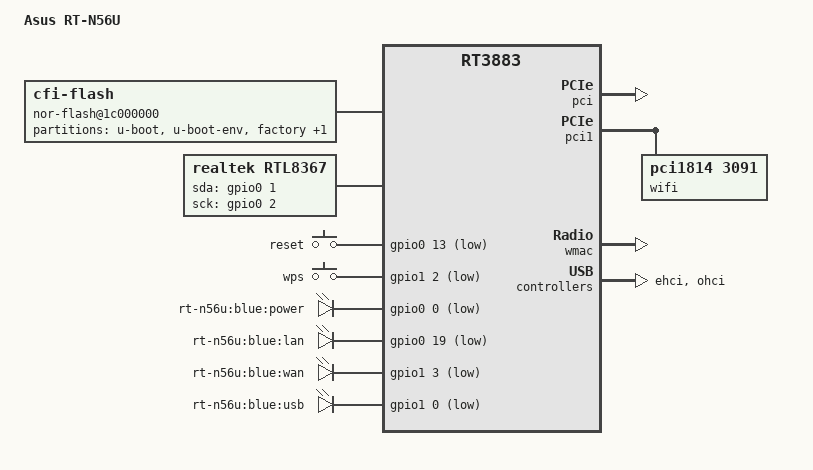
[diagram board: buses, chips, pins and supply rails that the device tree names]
/dts-v1/;

#include "rt3883.dtsi"

#include <dt-bindings/gpio/gpio.h>
#include <dt-bindings/input/input.h>

/ {
	compatible = "asus,rt-n56u", "ralink,rt3883-soc";
	model = "Asus RT-N56U";

	aliases {
		led-boot = &led_power;
		led-failsafe = &led_power;
		led-running = &led_power;
		led-upgrade = &led_power;
	};

	nor-flash@1c000000 {
		compatible = "cfi-flash";
		reg = <0x1c000000 0x800000>;
		bank-width = <2>;

		partitions {
			compatible = "fixed-partitions";
			#address-cells = <1>;
			#size-cells = <1>;

			partition@0 {
				reg = <0x0 0x0030000>;
				label = "u-boot";
				read-only;
			};

			partition@30000 {
				reg = <0x00030000 0x00010000>;
				label = "u-boot-env";
				read-only;
			};

			factory: partition@40000 {
				reg = <0x00040000 0x00010000>;
				label = "factory";
				read-only;
			};

			partition@50000 {
				reg = <0x00050000 0x007b0000>;
				label = "firmware";
			};
		};
	};

	rtl8367 {
		compatible = "realtek,rtl8367";
		gpio-sda = <&gpio0 1 GPIO_ACTIVE_HIGH>;
		gpio-sck = <&gpio0 2 GPIO_ACTIVE_HIGH>;
		realtek,extif1 = <1 0 1 1 1 1 1 1 2>;
	};

	gpio-keys-polled {
		compatible = "gpio-keys-polled";
		poll-interval = <100>;

		reset {
			label = "reset";
			gpios = <&gpio0 13 GPIO_ACTIVE_LOW>;
			linux,code = <KEY_RESTART>;
		};

		wps {
			label = "wps";
			gpios = <&gpio1 2 GPIO_ACTIVE_LOW>;
			linux,code = <KEY_WPS_BUTTON>;
		};
	};

	gpio-leds {
		compatible = "gpio-leds";

		led_power: power {
			label = "rt-n56u:blue:power";
			gpios = <&gpio0 0 GPIO_ACTIVE_LOW>;
		};

		lan {
			label = "rt-n56u:blue:lan";
			gpios = <&gpio0 19 GPIO_ACTIVE_LOW>;
		};

		wan {
			label = "rt-n56u:blue:wan";
			gpios = <&gpio1 3 GPIO_ACTIVE_LOW>;
		};

		usb {
			label = "rt-n56u:blue:usb";
			gpios = <&gpio1 0 GPIO_ACTIVE_LOW>;
		};
	};
};

&gpio1 {
	status = "okay";
};

&pinctrl {
	state_default: pinctrl0 {
		gpio {
			ralink,group = "spi", "i2c", "jtag", "uartf";
			ralink,function = "gpio";
		};
	};
};

&ethernet {
	mtd-mac-address = <&factory 0x4>;

	port@0 {
		mediatek,fixed-link = <1000 1 1 1>;
	};
};

&pci {
	status = "okay";
};

&pci1 {
	status = "okay";

	wifi@0,0 {
		compatible = "pci1814,3091";
		reg = <0x10000 0 0 0 0>;
		ralink,mtd-eeprom = <&factory 0x8000>;
	};
};

&wmac {
	status = "okay";
	ralink,2ghz = <0>;
	ralink,mtd-eeprom = <&factory 0>;
};

&ehci {
	status = "okay";
};

&ohci {
	status = "okay";
};
